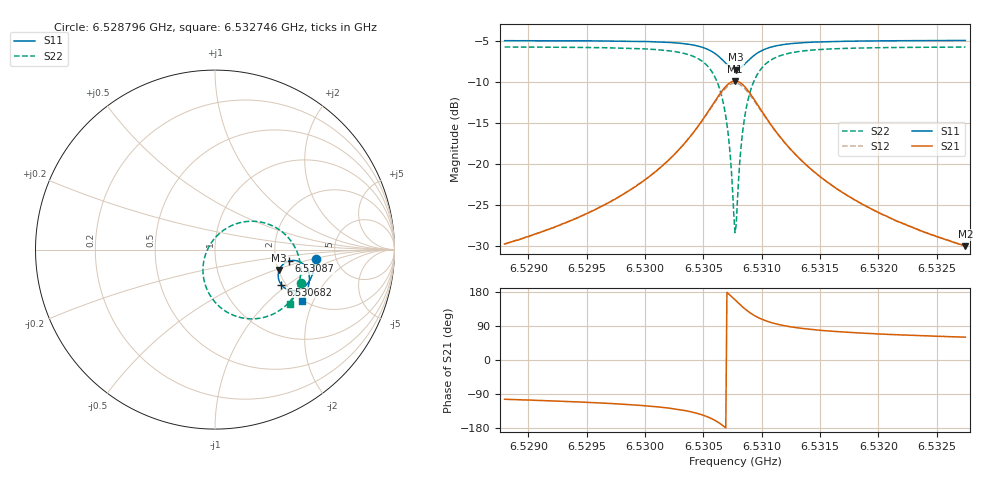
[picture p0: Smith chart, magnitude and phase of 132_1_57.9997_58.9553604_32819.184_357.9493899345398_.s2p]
#  HZ  S  RI  R  50.00
! Rohde & Schwarz Vector Network Analyzer
! Rohde-Schwarz,ZNB20-2Port,1311601062101988,3.16
! Created: UTC 3/21/2024, 12:56:09 AM
! freq[Hz]  re:S11  im:S11  re:S21  im:S21  re:S12  im:S12  re:S22  im:S22
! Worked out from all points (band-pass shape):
!   401 points, 6.528796 GHz to 6.532746 GHz, reference 50 ohm
!   highest |S21| = -9.91 dB at 6.530771 GHz (marker M1); lowest = -30.0 dB at 6.532746 GHz (marker M2)
!   |S21| within 3 dB of the highest: 6.530574 GHz to 6.53097 GHz (395.5 kHz wide, 0.00606 % of centre)
!   lowest |S11| = -8.5 dB at 6.530781 GHz (marker M3), VSWR 2.20, Z = 101 - j26.7 ohm
!   |S11| at or under -10 dB: nowhere
!   |S22| runs from -28.4 to -5.8 dB; largest |S21 - S12| = 0.013
!   S11 on the Smith chart (normalised r, x): 6.528796 GHz: 3.49, -0.54; 6.530682 GHz: 1.89, -0.89; 6.53087 GHz: 2.36, -0.37; 6.532746 GHz: 1.97, -1.66
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6.5287964e9  0.5606 -0.0533  -0.00764 -0.0316  -0.00841 -0.0315  0.4814 -0.1838
6.5294579e9  0.5512 -0.1094  -0.0176 -0.045  -0.0184 -0.0444  0.4491 -0.2463
6.5298232e9  0.5405 -0.1444  -0.0298 -0.0587  -0.0313 -0.058  0.416 -0.2902
6.5301194e9  0.524 -0.1776  -0.0522 -0.0774  -0.0546 -0.0759  0.3643 -0.3358
6.5303465e9  0.4969 -0.208  -0.0935 -0.0978  -0.0965 -0.0946  0.2804 -0.3756
6.5305144e9  0.452 -0.2281  -0.1645 -0.1049  -0.167 -0.0979  0.1494 -0.3802
6.5306131e9  0.4055 -0.2229  -0.2371 -0.0778  -0.2362 -0.0675  0.028 -0.3205
6.5306822e9  0.3688 -0.1949  -0.2907 -0.0172  -0.2844 -0.00636  -0.0503 -0.2076
6.5307217e9  0.3548 -0.1659  -0.3075 0.0377  -0.2978 0.0465  -0.0671 -0.1133
6.5307612e9  0.353 -0.131  -0.3028 0.1007  -0.2912 0.1056  -0.0471 -0.0113
6.5307711e9  0.355 -0.1221  -0.2979 0.1161  -0.2859 0.12  -0.0358 0.013
6.530781e9  0.3578 -0.1136  -0.2913 0.1311  -0.2794 0.1337  -0.0222 0.0361
6.5307909e9  0.3615 -0.1054  -0.2832 0.1451  -0.2716 0.1469  -0.00624 0.0577
6.5308304e9  0.3834 -0.0788  -0.2406 0.1906  -0.2306 0.1889  0.0726 0.1237
6.5308698e9  0.4112 -0.0641  -0.1899 0.2149  -0.1825 0.2115  0.1606 0.1544
6.530939e9  0.4561 -0.0626  -0.1114 0.2178  -0.1076 0.2144  0.2925 0.1436
6.5310377e9  0.4959 -0.0844  -0.0436 0.186  -0.0417 0.1842  0.4019 0.0734
6.5311858e9  0.5195 -0.1207  -0.00253 0.1378  -0.00118 0.1371  0.462 -0.0251
6.5314326e9  0.5263 -0.1645  0.0152 0.0902  0.0165 0.0899  0.4773 -0.1254
6.5317387e9  0.5212 -0.2019  0.0185 0.061  0.0196 0.0609  0.4672 -0.194
6.5320942e9  0.5106 -0.2355  0.0179 0.0434  0.0187 0.0431  0.4494 -0.2437
6.5327458e9  0.487 -0.2861  0.0156 0.0274  0.0162 0.0271  0.4155 -0.3036
